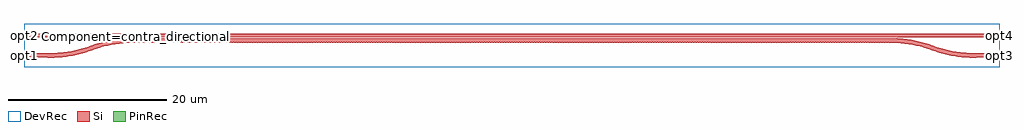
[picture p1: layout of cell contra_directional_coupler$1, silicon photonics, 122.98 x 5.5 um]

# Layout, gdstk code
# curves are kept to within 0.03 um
import gdstk
lib = gdstk.Library(unit=1e-6, precision=1e-09)
def R(c, l, rs):  # rectangles x0, y0, x1, y1
    for r in rs: c.add(gdstk.rectangle(r[:2], r[2:], *l))
def A(c, l, x, y, w, h, nx, ny, dx, dy):  # array of equal rectangles
    R(c, l, [(x+i*dx, y+j*dy, x+i*dx+w, y+j*dy+h) for i in range(nx) for j in range(ny)])
def P(c, l, *ps):  # polygons
    for p in ps: c.add(gdstk.Polygon(p, *l))
Si = (1, 0)
PinRec = (1, 10)
DevRec = (68, 0)

contra_directional_coupl = lib.new_cell('contra_directional_coupler$1')
A(contra_directional_coupl, Si, 0.158, -0.643, 0.158, 0.305, 300, 1, 0.316, 0)
A(contra_directional_coupl, Si, 0.316, -0.593, 0.158, 0.255, 300, 1, 0.316, 0)
A(contra_directional_coupl, Si, 0, -0.338, 0.158, 0.305, 300, 1, 0.316, 0)
A(contra_directional_coupl, Si, 0.158, -0.338, 0.158, 0.255, 300, 1, 0.316, 0)
A(contra_directional_coupl, Si, 0, 0.046, 0.158, 0.232, 300, 1, 0.316, 0)
A(contra_directional_coupl, Si, 0.158, 0.07, 0.158, 0.208, 300, 1, 0.316, 0)
A(contra_directional_coupl, Si, 0.158, 0.278, 0.158, 0.232, 300, 1, 0.316, 0)
A(contra_directional_coupl, Si, 0.316, 0.278, 0.158, 0.208, 300, 1, 0.316, 0)
R(contra_directional_coupl, Si, [(0,-0.618,0.158,-0.338), (94.8,-0.338,94.958,-0.058), (-5.5,0.058,0,0.498), (94.8,0.058,94.958,0.278), (94.958,0.058,100.458,0.498), (0,0.278,0.158,0.498)])
P(contra_directional_coupl, Si, [(105.69,-2.502),(104.137,-2.423),(102.601,-2.186),(101.344,-1.871),(99.173,-1.157),(97.711,-0.829),(96.473,-0.671),(94.958,-0.618),(94.958,-0.058),(96.262,-0.093),(97.806,-0.277),(99.323,-0.618),(101.503,-1.334),(102.714,-1.638),(104.194,-1.866),(105.958,-1.942),(105.958,-2.502)],
  [(105.958,-2.502),(105.958,-1.942),(108.958,-1.972),(108.958,-2.472)],
  [(108.958,0.028),(100.458,0.058),(100.458,0.498),(108.958,0.528)],
  [(-11,-2.502),(-11,-1.942),(-9.236,-1.866),(-7.756,-1.638),(-6.545,-1.334),(-4.365,-0.618),(-2.848,-0.277),(-1.304,-0.093),(0,-0.058),(0,-0.618),(-1.764,-0.694),(-3.244,-0.922),(-4.455,-1.226),(-6.635,-1.942),(-8.152,-2.283),(-9.696,-2.467)],
  [(-11,-2.502),(-14,-2.472),(-14,-1.972),(-11,-1.942)],
  [(-14,0.028),(-14,0.528),(-5.5,0.498),(-5.5,0.058)])
R(contra_directional_coupl, DevRec, [(-14,-3.722,108.958,1.778)])
contra_directional_coupl.add(gdstk.FlexPath([(-13.99,-2.222),(-14.01,-2.222)], 0.5, ends="flush", simple_path=True, layer=1, datatype=10))  # PinRec
contra_directional_coupl.add(gdstk.FlexPath([(-13.99,0.278),(-14.01,0.278)], 0.5, ends="flush", simple_path=True, layer=1, datatype=10))  # PinRec
contra_directional_coupl.add(gdstk.FlexPath([(108.948,-2.222),(108.968,-2.222)], 0.5, ends="flush", simple_path=True, layer=1, datatype=10))  # PinRec
contra_directional_coupl.add(gdstk.FlexPath([(108.948,0.278),(108.968,0.278)], 0.5, ends="flush", simple_path=True, layer=1, datatype=10))  # PinRec
contra_directional_coupl.add(gdstk.Label('opt1', (-14,-2.222), layer=1, texttype=10))
contra_directional_coupl.add(gdstk.Label('opt2', (-14,0.278), layer=1, texttype=10))
contra_directional_coupl.add(gdstk.Label('opt3', (108.958,-2.222), layer=1, texttype=10))
contra_directional_coupl.add(gdstk.Label('opt4', (108.958,0.278), layer=1, texttype=10))
contra_directional_coupl.add(gdstk.Label('Lumerical_INTERCONNECT_library=Design kits/EBeam', (0,0), layer=68, texttype=0))
contra_directional_coupl.add(gdstk.Label('Component=contra_directional_coupler', (0,0.1), layer=68, texttype=0))

lib.write_gds('contra_directional_coupler_1.gds')
